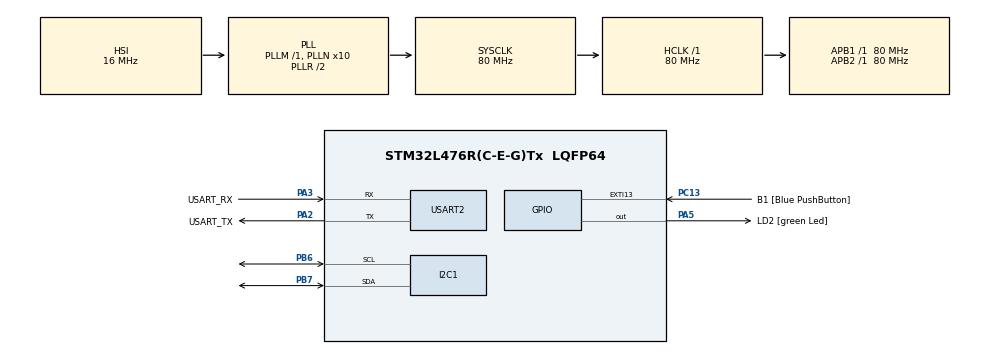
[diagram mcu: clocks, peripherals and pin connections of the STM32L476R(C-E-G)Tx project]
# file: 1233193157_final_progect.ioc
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I2C1.Timing=0x10909CEC
Mcu.Family=STM32L4
Mcu.Name=STM32L476R(C-E-G)Tx
Mcu.Package=LQFP64
NVIC.PriorityGroup=NVIC_PRIORITYGROUP_4
PA13\ (JTMS-SWDIO).GPIO_Label=TMS
PA13\ (JTMS-SWDIO).Mode=Serial_Wire
PA13\ (JTMS-SWDIO).Signal=SYS_JTMS-SWDIO
PA14\ (JTCK-SWCLK).GPIO_Label=TCK
PA14\ (JTCK-SWCLK).Mode=Serial_Wire
PA14\ (JTCK-SWCLK).Signal=SYS_JTCK-SWCLK
PA2.GPIO_Label=USART_TX
PA2.GPIO_Mode=GPIO_MODE_AF_PP
PA2.GPIO_PuPd=GPIO_NOPULL
PA2.GPIO_Speed=GPIO_SPEED_FREQ_VERY_HIGH
PA2.Mode=Asynchronous
PA2.Signal=USART2_TX
PA3.GPIO_Label=USART_RX
PA3.GPIO_Mode=GPIO_MODE_AF_PP
PA3.GPIO_PuPd=GPIO_NOPULL
PA3.GPIO_Speed=GPIO_SPEED_FREQ_VERY_HIGH
PA3.Mode=Asynchronous
PA3.Signal=USART2_RX
PA5.GPIO_Label=LD2 [green Led]
PA5.GPIO_ModeDefaultOutputPP=GPIO_MODE_OUTPUT_PP
PA5.GPIO_PuPd=GPIO_NOPULL
PA5.GPIO_Speed=GPIO_SPEED_FREQ_LOW
PA5.Signal=GPIO_Output
PB3\ (JTDO-TRACESWO).GPIO_Label=SWO
PB3\ (JTDO-TRACESWO).Signal=SYS_JTDO-SWO
PB6.Mode=I2C
PB6.Signal=I2C1_SCL
PB7.Mode=I2C
PB7.Signal=I2C1_SDA
PC13.GPIO_Label=B1 [Blue PushButton]
PC13.GPIO_ModeDefaultEXTI=GPIO_MODE_IT_FALLING
PC13.GPIO_PuPd=GPIO_NOPULL
PC13.Signal=GPXTI13
PC14-OSC32_IN\ (PC14).Mode=LSE-External-Oscillator
PC14-OSC32_IN\ (PC14).Signal=RCC_OSC32_IN
PC15-OSC32_OUT\ (PC15).Mode=LSE-External-Oscillator
PC15-OSC32_OUT\ (PC15).Signal=RCC_OSC32_OUT
PH0-OSC_IN\ (PH0).Signal=RCC_OSC_IN
PH1-OSC_OUT\ (PH1).Signal=RCC_OSC_OUT
ProjectManager.HeapSize=0x200
ProjectManager.StackSize=0x400
ProjectManager.TargetToolchain=STM32CubeIDE
RCC.ADCFreq_Value=64000000
RCC.AHBFreq_Value=80000000
RCC.APB1Freq_Value=80000000
RCC.APB1TimFreq_Value=80000000
RCC.APB2Freq_Value=80000000
RCC.APB2TimFreq_Value=80000000
RCC.CortexFreq_Value=80000000
RCC.HCLKFreq_Value=80000000
RCC.HSE_VALUE=8000000
RCC.HSI_VALUE=16000000
RCC.MSI_VALUE=4000000
RCC.PLLN=10
RCC.PLLSourceVirtual=RCC_PLLSOURCE_HSI
RCC.PREFETCH_ENABLE=1
RCC.SYSCLKFreq_VALUE=80000000
RCC.SYSCLKSource=RCC_SYSCLKSOURCE_PLLCLK
RCC.USBFreq_Value=64000000
RCC.VCOOutputFreq_Value=160000000
USART2.VirtualMode-Asynchronous=VM_ASYNC
board=NUCLEO-L476RG

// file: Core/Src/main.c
/* USER CODE BEGIN Header */
/**
  ******************************************************************************
  * @file           : main.c
  * @brief          : Main program body
  ******************************************************************************
  * @attention
  *
  * Copyright (c) 2023 STMicroelectronics.
  * All rights reserved.
  *
  * This software is licensed under terms that can be found in the LICENSE file
  * in the root directory of this software component.
  * If no LICENSE file comes with this software, it is provided AS-IS.
  *
  ******************************************************************************
  */
/* USER CODE END Header */
#include "main.h"

#include <stdio.h>
#include <string.h>

#include "ssd1306.h"
#include "ssd1306_fonts.h"

#define MAX_ATTEMPTS 3

I2C_HandleTypeDef hi2c1;

UART_HandleTypeDef huart2;

uint8_t rx_usart2[16];
uint8_t tx_usart2[16];

void SystemClock_Config(void);
static void MX_GPIO_Init(void);
static void MX_USART2_UART_Init(void);
static void MX_I2C1_Init(void);

/**
  * @brief  Rx Transfer completed callback.
  * @param  huart UART handle.
  * @retval None
  */
void Custom_USART2_RxCallback(uint8_t rx_data)
{
	LL_USART_TransmitData8(USART2, rx_data);
}

uint8_t Custom_USART2_TxCallback(uint8_t *tx_data)
{
	return 0; // Tx not implemented by IT in usart2
}

int main(void)
{

	uint8_t attempts = 0;

  /* MCU Configuration--------------------------------------------------------*/

  /* Reset of all peripherals, Initializes the Flash interface and the Systick. */
  HAL_Init();

  /* Configure the system clock */
  SystemClock_Config();

  /* Initialize all configured peripherals */
  MX_GPIO_Init();
  MX_USART2_UART_Init();
  MX_I2C1_Init();

  /* USER CODE BEGIN 2 */
  ssd1306_Init();

  void displayMessage(const char *message, uint8_t seconds){
  ssd1306_Fill(Black);
  ssd1306_SetCursor(20, 20);
  ssd1306_WriteString("Waiting", Font_16x26, White);
  ssd1306_UpdateScreen();
  HAL_Delay(seconds * 1000);
  }

  /* USER CODE END 2 */

  /* Infinite loop */
  /* USER CODE BEGIN WHILE */
  while (1)
  {

	          displayMessage("Waiting", 0);

	          char receivedCommand[20];

	          if (strcmp(receivedCommand, "tu_codigo_estudiante") == 0){
	              displayMessage("Success", 10);
	              attempts = 0;
	          } else {

	              displayMessage("Failed", 10);
	              attempts++;

	              if (attempts >= MAX_ATTEMPTS){
	                  displayMessage("Blocked", 30);
	                  attempts = 0;
	              }
	          }
	      }
	  }
    /* USER CODE END WHILE */

void SystemClock_Config(void)
{
  RCC_OscInitTypeDef RCC_OscInitStruct = {0};
  RCC_ClkInitTypeDef RCC_ClkInitStruct = {0};

  /** Configure the main internal regulator output voltage
  */
  if (HAL_PWREx_ControlVoltageScaling(PWR_REGULATOR_VOLTAGE_SCALE1) != HAL_OK)
  {
    Error_Handler();
  }

  /** Initializes the RCC Oscillators according to the specified parameters
  * in the RCC_OscInitTypeDef structure.
  */
  RCC_OscInitStruct.OscillatorType = RCC_OSCILLATORTYPE_HSI;
  RCC_OscInitStruct.HSIState = RCC_HSI_ON;
  RCC_OscInitStruct.HSICalibrationValue = RCC_HSICALIBRATION_DEFAULT;
  RCC_OscInitStruct.PLL.PLLState = RCC_PLL_ON;
  RCC_OscInitStruct.PLL.PLLSource = RCC_PLLSOURCE_HSI;
  RCC_OscInitStruct.PLL.PLLM = 1;
  RCC_OscInitStruct.PLL.PLLN = 10;
  RCC_OscInitStruct.PLL.PLLP = RCC_PLLP_DIV7;
  RCC_OscInitStruct.PLL.PLLQ = RCC_PLLQ_DIV2;
  RCC_OscInitStruct.PLL.PLLR = RCC_PLLR_DIV2;
  if (HAL_RCC_OscConfig(&RCC_OscInitStruct) != HAL_OK)
  {
    Error_Handler();
  }

  /** Initializes the CPU, AHB and APB buses clocks
  */
  RCC_ClkInitStruct.ClockType = RCC_CLOCKTYPE_HCLK|RCC_CLOCKTYPE_SYSCLK
                              |RCC_CLOCKTYPE_PCLK1|RCC_CLOCKTYPE_PCLK2;
  RCC_ClkInitStruct.SYSCLKSource = RCC_SYSCLKSOURCE_PLLCLK;
  RCC_ClkInitStruct.AHBCLKDivider = RCC_SYSCLK_DIV1;
  RCC_ClkInitStruct.APB1CLKDivider = RCC_HCLK_DIV1;
  RCC_ClkInitStruct.APB2CLKDivider = RCC_HCLK_DIV1;

  if (HAL_RCC_ClockConfig(&RCC_ClkInitStruct, FLASH_LATENCY_4) != HAL_OK)
  {
    Error_Handler();
  }
}

static void MX_I2C1_Init(void)
{

  hi2c1.Instance = I2C1;
  hi2c1.Init.Timing = 0x10909CEC;
  hi2c1.Init.OwnAddress1 = 0;
  hi2c1.Init.AddressingMode = I2C_ADDRESSINGMODE_7BIT;
  hi2c1.Init.DualAddressMode = I2C_DUALADDRESS_DISABLE;
  hi2c1.Init.OwnAddress2 = 0;
  hi2c1.Init.OwnAddress2Masks = I2C_OA2_NOMASK;
  hi2c1.Init.GeneralCallMode = I2C_GENERALCALL_DISABLE;
  hi2c1.Init.NoStretchMode = I2C_NOSTRETCH_DISABLE;
  if (HAL_I2C_Init(&hi2c1) != HAL_OK)
  {
    Error_Handler();
  }

  /** Configure Analogue filter
  */
  if (HAL_I2CEx_ConfigAnalogFilter(&hi2c1, I2C_ANALOGFILTER_ENABLE) != HAL_OK)
  {
    Error_Handler();
  }

  /** Configure Digital filter
  */
  if (HAL_I2CEx_ConfigDigitalFilter(&hi2c1, 0) != HAL_OK)
  {
    Error_Handler();
  }

}

static void MX_USART2_UART_Init(void)
{

  huart2.Instance = USART2;
  huart2.Init.BaudRate = 115200;
  huart2.Init.WordLength = UART_WORDLENGTH_8B;
  huart2.Init.StopBits = UART_STOPBITS_1;
  huart2.Init.Parity = UART_PARITY_NONE;
  huart2.Init.Mode = UART_MODE_TX_RX;
  huart2.Init.HwFlowCtl = UART_HWCONTROL_NONE;
  huart2.Init.OverSampling = UART_OVERSAMPLING_16;
  huart2.Init.OneBitSampling = UART_ONE_BIT_SAMPLE_DISABLE;
  huart2.AdvancedInit.AdvFeatureInit = UART_ADVFEATURE_NO_INIT;
  if (HAL_UART_Init(&huart2) != HAL_OK)
  {
    Error_Handler();
  }

}

static void MX_GPIO_Init(void)
{
  GPIO_InitTypeDef GPIO_InitStruct = {0};

  /* GPIO Ports Clock Enable */
  __HAL_RCC_GPIOC_CLK_ENABLE();
  __HAL_RCC_GPIOH_CLK_ENABLE();
  __HAL_RCC_GPIOA_CLK_ENABLE();
  __HAL_RCC_GPIOB_CLK_ENABLE();

  /*Configure GPIO pin Output Level */
  HAL_GPIO_WritePin(LD2_GPIO_Port, LD2_Pin, GPIO_PIN_RESET);

  /*Configure GPIO pin : B1_Pin */
  GPIO_InitStruct.Pin = B1_Pin;
  GPIO_InitStruct.Mode = GPIO_MODE_IT_FALLING;
  GPIO_InitStruct.Pull = GPIO_NOPULL;
  HAL_GPIO_Init(B1_GPIO_Port, &GPIO_InitStruct);

  /*Configure GPIO pin : LD2_Pin */
  GPIO_InitStruct.Pin = LD2_Pin;
  GPIO_InitStruct.Mode = GPIO_MODE_OUTPUT_PP;
  GPIO_InitStruct.Pull = GPIO_NOPULL;
  GPIO_InitStruct.Speed = GPIO_SPEED_FREQ_LOW;
  HAL_GPIO_Init(LD2_GPIO_Port, &GPIO_InitStruct);

}

void Error_Handler(void)
{
  __disable_irq();
  while (1)
  {
  }
}
